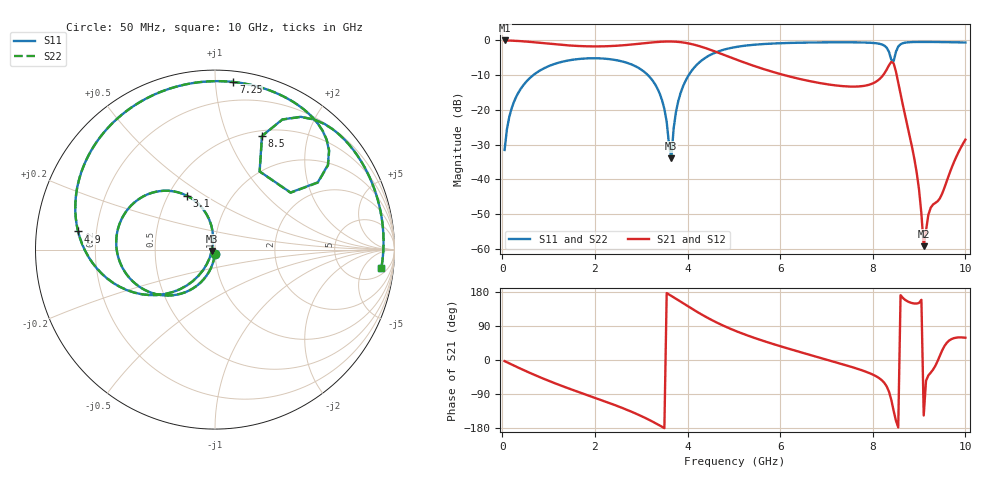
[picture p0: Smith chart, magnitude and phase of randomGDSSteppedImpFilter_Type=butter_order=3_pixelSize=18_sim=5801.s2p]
! freq	dB(S11)	phase(S11)	dB(S12)	phase(S12)
!  dB(S21)	phase(S21)	dB(S22)	phase(S22)
!S-par simulation data
#  GHz  S  DB  R 50
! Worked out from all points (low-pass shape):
!   200 points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, 50 MHz to 10 GHz, reference 50 ohm
!   highest |S21| = -0.01 dB at 50 MHz (marker M1); lowest = -59.3 dB at 9.1 GHz (marker M2)
!   |S21| within 3 dB of the highest: start of sweep to 4.558 GHz
!   lowest |S11| = -34.0 dB at 3.65 GHz (marker M3), VSWR 1.04, Z = 48.2 - j0.727 ohm
!   |S11| at or under -10 dB: start of sweep to 669.5 MHz; 3.144 GHz to 4.026 GHz (881.9 MHz wide, 24.6 % of centre)
!   |S22| runs from -34.1 to -0.4 dB; largest |S21 - S12| = 0
!   S11 on the Smith chart (normalised r, x): 50 MHz: 1.00, -0.05; 3.1 GHz: 0.62, +0.42; 4.9 GHz: 0.13, +0.06; 7.25 GHz: 0.07, +1.11; 8.5 GHz: 0.56, +1.34; 10 GHz: 8, -13
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0.05  -31.56 -93.1  -0.01 -3.0  -0.01 -3.0  -31.56 -93.1
0.2  -19.64 -102.3  -0.06 -11.8  -0.06 -11.8  -19.64 -102.3
0.5  -12.16 -119.4  -0.31 -28.8  -0.31 -28.8  -12.16 -119.4
1.75  -5.24 -179.4  -1.67 -89.0  -1.67 -89.0  -5.24 -179.5
3.1  -9.44 117.4  -0.76 -153.7  -0.76 -153.7  -9.44 117.3
3.4  -15.34 101.0  -0.40 -172.9  -0.40 -172.9  -15.34 100.9
3.55  -23.46 99.0  -0.32 176.6  -0.32 176.6  -23.47 98.8
3.65  -33.99 -157.8  -0.32 169.2  -0.32 169.2  -34.07 -157.5
3.75  -20.61 -119.4  -0.38 161.6  -0.38 161.6  -20.61 -119.3
3.95  -11.83 -128.3  -0.69 146.3  -0.69 146.3  -11.83 -128.3
4.35  -5.33 -155.5  -2.04 116.9  -2.04 116.9  -5.33 -155.5
4.9  -2.27 172.5  -4.74 83.7  -4.74 83.7  -2.27 172.4
5.05  -1.88 165.1  -5.50 76.2  -5.50 76.2  -1.88 165.0
6.7  -0.60 102.3  -11.89 11.6  -11.89 11.6  -0.60 102.2
7.25  -0.54 83.7  -13.04 -7.6  -13.04 -7.6  -0.54 83.6
8  -0.72 55.5  -12.38 -38.4  -12.38 -38.4  -0.72 55.4
8.35  -3.29 33.2  -7.16 -83.4  -7.16 -83.4  -3.30 33.1
8.5  -3.29 67.6  -8.95 -160.0  -8.95 -160.0  -3.29 67.5
8.95  -0.44 35.5  -38.22 149.0  -38.22 149.0  -0.44 35.4
9.1  -0.43 29.1  -59.29 -146.4  -59.29 -146.4  -0.43 29.0
9.25  -0.44 23.0  -48.24 -33.5  -48.24 -33.5  -0.44 22.9
10  -0.61 -6.2  -28.60 58.7  -28.60 58.7  -0.61 -6.3
